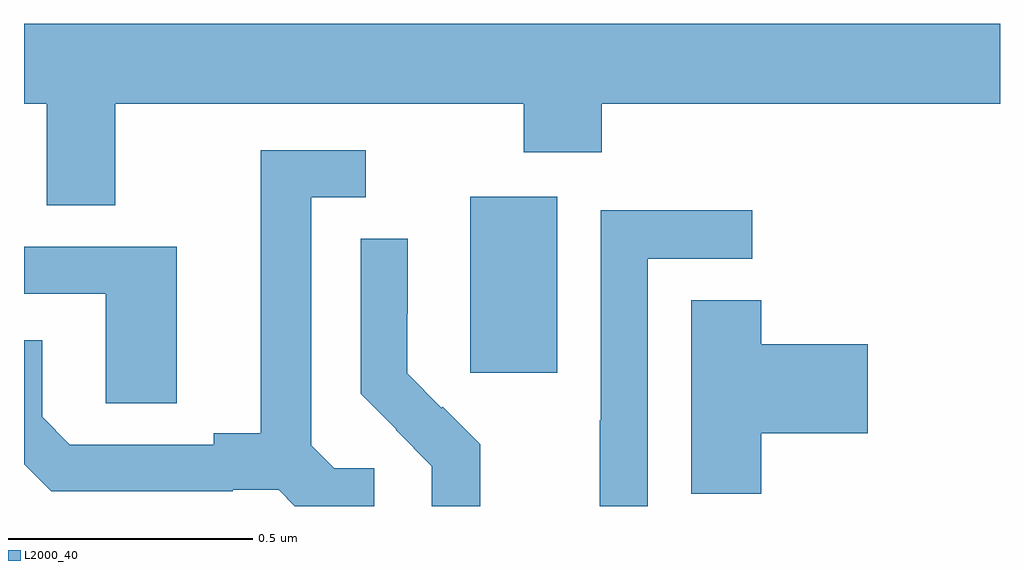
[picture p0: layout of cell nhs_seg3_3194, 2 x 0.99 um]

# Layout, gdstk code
import gdstk
lib = gdstk.Library(unit=1e-6, precision=1e-09)
def R(c, l, rs):  # rectangles x0, y0, x1, y1
    for r in rs: c.add(gdstk.rectangle(r[:2], r[2:], *l))
def P(c, l, *ps):  # polygons
    for p in ps: c.add(gdstk.Polygon(p, *l))
L2000_40 = (2000, 40)

nhs_seg3_3194 = lib.new_cell('nhs_seg3_3194')
R(nhs_seg3_3194, L2000_40, [(150.914,725.673,151.093,726.034)])
P(nhs_seg3_3194, L2000_40, [(150.187,726.224),(151.024,726.224),(151.024,726.125),(151.184,726.125),(151.184,726.224),(152,726.224),(152,726.388),(150,726.388),(150,726.224),(150.047,726.224),(150.047,726.016),(150.187,726.016)],
  [(150.718,725.478),(150.636,725.478),(150.589,725.525),(150.589,726.033),(150.7,726.033),(150.7,726.129),(150.485,726.129),(150.485,725.549),(150.389,725.549),(150.389,725.526),(150.094,725.526),(150.037,725.583),(150.037,725.74),(150,725.74),(150,725.486),(150.056,725.43),(150.428,725.43),(150.428,725.433),(150.522,725.433),(150.555,725.4),(150.718,725.4)],
  [(151.278,725.907),(151.492,725.907),(151.492,726.006),(151.182,726.006),(151.182,725.576),(151.18,725.576),(151.18,725.4),(151.278,725.4)],
  [(150.935,725.527),(150.858,725.604),(150.855,725.601),(150.785,725.672),(150.785,725.794),(150.786,725.794),(150.786,725.948),(150.69,725.948),(150.69,725.63),(150.763,725.557),(150.762,725.556),(150.836,725.482),(150.836,725.4),(150.935,725.4)],
  [(150.313,725.931),(150,725.931),(150,725.835),(150.168,725.835),(150.168,725.611),(150.313,725.611)],
  [(151.511,725.549),(151.729,725.549),(151.729,725.732),(151.511,725.732),(151.511,725.822),(151.367,725.822),(151.367,725.425),(151.511,725.425)])

lib.write_gds('nhs_seg3_3194.gds')
